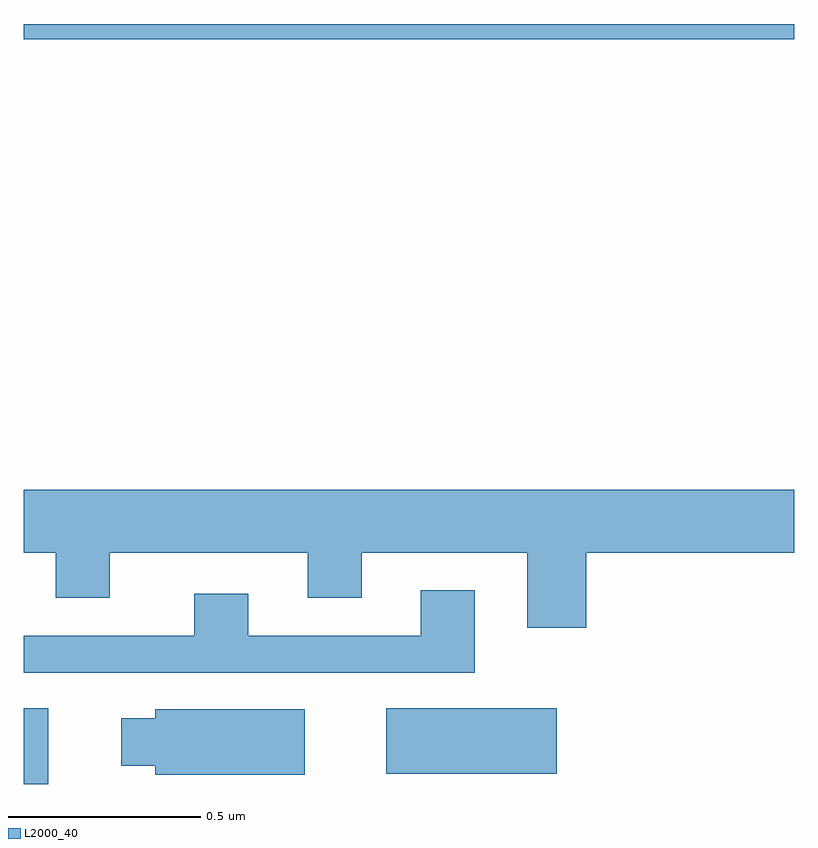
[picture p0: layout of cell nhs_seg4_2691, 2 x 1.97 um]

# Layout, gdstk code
import gdstk
lib = gdstk.Library(unit=1e-6, precision=1e-09)
def R(c, l, rs):  # rectangles x0, y0, x1, y1
    for r in rs: c.add(gdstk.rectangle(r[:2], r[2:], *l))
def P(c, l, *ps):  # polygons
    for p in ps: c.add(gdstk.Polygon(p, *l))
L2000_40 = (2000, 40)

nhs_seg4_2691 = lib.new_cell('nhs_seg4_2691')
R(nhs_seg4_2691, L2000_40, [(144,754.928,144.064,755.125), (144.941,754.955,145.384,755.125), (144,756.86,146,756.9)])
P(nhs_seg4_2691, L2000_40, [(144,755.528),(144.083,755.528),(144.083,755.411),(144.223,755.411),(144.223,755.528),(144.737,755.528),(144.737,755.411),(144.877,755.411),(144.877,755.528),(145.307,755.528),(145.307,755.334),(145.46,755.334),(145.46,755.528),(146,755.528),(146,755.692),(144,755.692)],
  [(145.171,755.431),(145.031,755.431),(145.031,755.313),(144.583,755.313),(144.583,755.422),(144.443,755.422),(144.443,755.313),(144,755.313),(144,755.217),(145.171,755.217)],
  [(144.73,755.122),(144.342,755.122),(144.342,755.098),(144.254,755.098),(144.254,754.976),(144.342,754.976),(144.342,754.952),(144.73,754.952)])

lib.write_gds('nhs_seg4_2691.gds')
